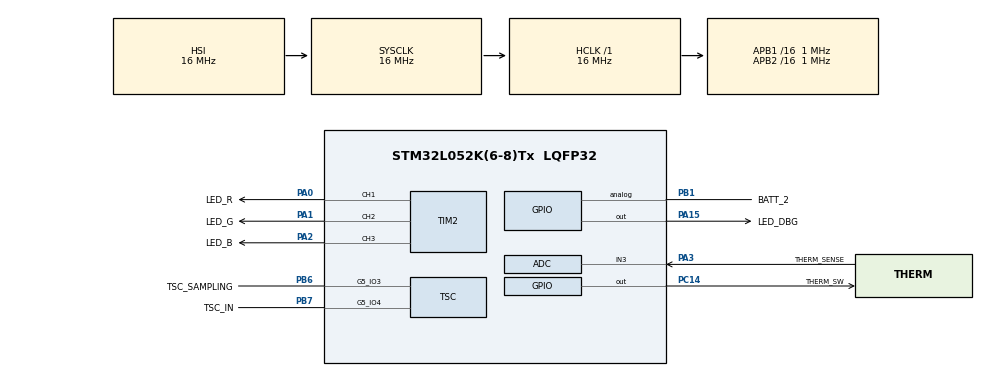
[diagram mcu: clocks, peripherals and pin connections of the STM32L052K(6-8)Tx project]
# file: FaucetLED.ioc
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ADC.ClockPrescaler=ADC_CLOCK_ASYNC_DIV4
ADC.ContinuousConvMode=DISABLE
ADC.DMAContinuousRequests=DISABLE
ADC.DataAlign=ADC_DATAALIGN_RIGHT
ADC.DiscontinuousConvMode=DISABLE
ADC.EOCSelection=ADC_EOC_SINGLE_CONV
ADC.EnableAnalogWatchDog=false
ADC.ExternalTrigConv=ADC_SOFTWARE_START
ADC.ExternalTrigConvEdge=ADC_EXTERNALTRIGCONVEDGE_NONE
ADC.LowPowerAutoPowerOff=ENABLE
ADC.LowPowerAutoWait=DISABLE
ADC.LowPowerFrequencyMode=DISABLE
ADC.Overrun=ADC_OVR_DATA_OVERWRITTEN
ADC.OversamplingMode=DISABLE
ADC.Resolution=ADC_RESOLUTION_12B
ADC.SamplingTime=ADC_SAMPLETIME_7CYCLES_5
ADC.ScanConvMode=ADC_SCAN_DIRECTION_FORWARD
FREERTOS.INCLUDE_eTaskGetState=1
FREERTOS.INCLUDE_uxTaskGetStackHighWaterMark=1
FREERTOS.INCLUDE_uxTaskPriorityGet=0
FREERTOS.INCLUDE_vTaskDelayUntil=1
FREERTOS.INCLUDE_vTaskDelete=0
FREERTOS.INCLUDE_vTaskPrioritySet=0
FREERTOS.INCLUDE_xTaskGetCurrentTaskHandle=1
FREERTOS.MEMORY_ALLOCATION=1
FREERTOS.Queues01=LedCmdQ,4,LedCmd_S,NULL,Static,LedCmdQBuffer,LedCmdQControlBlock;TouchDataQ,2,uint16_t,NULL,Static,TouchDataQBuffer,TouchDataQControlBlock
FREERTOS.Tasks01=Watchdog,2,128,WatchdogTask,Default,NULL,Static,WatchdogBuffer,WatchdogControlBlock;Led,0,128,LedTask,As external,NULL,Static,LedBuffer,LedControlBlock;AdcReader,-1,128,AdcReaderTask,As external,NULL,Static,AdcReaderBuffer,AdcReaderControlBlock
FREERTOS.configCHECK_FOR_STACK_OVERFLOW=2
FREERTOS.configENABLE_BACKWARD_COMPATIBILITY=0
FREERTOS.configIDLE_SHOULD_YIELD=0
FREERTOS.configUSE_MALLOC_FAILED_HOOK=1
FREERTOS.configUSE_MUTEXES=0
FREERTOS.configUSE_TRACE_FACILITY=0
IWDG.Prescaler=IWDG_PRESCALER_32
Mcu.Family=STM32L0
Mcu.Name=STM32L052K(6-8)Tx
Mcu.Package=LQFP32
Mcu.UserConstants=LED_TIM_PERIOD,255;LED_TIM_CLK_DIV,1
NVIC.ADC1_COMP_IRQn=true\:3\:0\:false\:false\:true\:true
NVIC.LPTIM1_IRQn=true\:3\:0\:true\:false\:true\:true
NVIC.TIM6_DAC_IRQn=true\:3\:0\:false\:false\:true\:true
NVIC.TSC_IRQn=true\:3\:0\:false\:false\:true\:true
NVIC.TimeBase=TIM6_DAC_IRQn
NVIC.TimeBaseIP=TIM6
PA0.GPIO_Label=LED_R
PA0.Signal=S_TIM2_CH1
PA1.GPIO_Label=LED_G
PA1.Signal=S_TIM2_CH2
PA13.Mode=Serial_Wire
PA13.Signal=SYS_SWDIO
PA14.Mode=Serial_Wire
PA14.Signal=SYS_SWCLK
PA15.GPIO_Label=LED_DBG
PA15.Signal=GPIO_Output
PA2.GPIO_Label=LED_B
PA2.Signal=S_TIM2_CH3
PA3.GPIO_Label=THERM_SENSE
PA3.Mode=IN3
PA3.Signal=ADC_IN3
PB1.GPIO_Label=BATT_2
PB1.Signal=GPIO_Analog
PB6.GPIO_Label=TSC_SAMPLING
PB6.Mode=G5_IO3-Sampling
PB6.Signal=TSC_G5_IO3
PB7.GPIO_Label=TSC_IN
PB7.Mode=G5_IO4-Channel
PB7.Signal=TSC_G5_IO4
PC14-OSC32_IN.GPIO_Label=THERM_SW
PC14-OSC32_IN.Signal=GPIO_Output
ProjectManager.HeapSize=0x00
ProjectManager.StackSize=0x80
ProjectManager.TargetToolchain=TrueSTUDIO
RCC.AHBFreq_Value=16000000
RCC.APB1CLKDivider=RCC_HCLK_DIV16
RCC.APB1Freq_Value=1000000
RCC.APB1TimFreq_Value=2000000
RCC.APB2CLKDivider=RCC_HCLK_DIV16
RCC.APB2Freq_Value=1000000
RCC.APB2TimFreq_Value=2000000
RCC.HCLKFreq_Value=16000000
RCC.HSI16_VALUE=16000000
RCC.HSI48_VALUE=48000000
RCC.HSI_VALUE=16000000
RCC.LSE_VALUE=32768
RCC.LptimClockSelection=RCC_LPTIM1CLKSOURCE_LSI
RCC.MSI_VALUE=2097000
RCC.PLLMUL=RCC_PLLMUL_4
RCC.RCC_MCOSource=RCC_MCO1SOURCE_LSI
RCC.SYSCLKFreq_VALUE=16000000
RCC.SYSCLKSource=RCC_SYSCLKSOURCE_HSI
RCC.TimPrescaler=SYSTICK_CLKSOURCE_HCLK_DIV8
RCC.VCOOutputFreq_Value=64000000
SH.S_TIM2_CH1.0=TIM2_CH1,PWM Generation1 CH1
SH.S_TIM2_CH2.0=TIM2_CH2,PWM Generation2 CH2
SH.S_TIM2_CH3.0=TIM2_CH3,PWM Generation3 CH3
TIM2.Channel-PWM\ Generation2\ CH2=TIM_CHANNEL_2
TIM2.Channel-PWM\ Generation3\ CH3=TIM_CHANNEL_3
TIM2.Period=LED_TIM_PERIOD
TIM2.Prescaler=LED_TIM_CLK_DIV-1
TSC.CTPulseHighLength=TSC_CTPH_2CYCLES
TSC.CTPulseLowLength=TSC_CTPL_2CYCLES
TSC.ChannelIOs-G5_IO4=TSC_GROUP5_IO4
TSC.MaxCountInterrupt=ENABLE
TSC.MaxCountValue=TSC_MCV_16383
TSC.PulseGeneratorPrescaler=TSC_PG_PRESC_DIV16
TSC.SamplingIOs-G5_IO3=TSC_GROUP5_IO3
VP_FREERTOS_VS_ENABLE.Mode=Enabled
VP_IWDG_VS_IWDG.Mode=IWDG_Activate
VP_LPTIM1_VS_LPTIM_counterModeInternalClock.Mode=Counts__internal_clock_event_00
VP_SYS_VS_tim6.Mode=TIM6
board=FaucetLED

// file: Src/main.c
/**
  ******************************************************************************
  * File Name          : main.c
  * Description        : Main program body
  ******************************************************************************
  *
  * Copyright (c) 2017 STMicroelectronics International N.V.
  * All rights reserved.
  *
  * Redistribution and use in source and binary forms, with or without
  * modification, are permitted, provided that the following conditions are met:
  *
  * 1. Redistribution of source code must retain the above copyright notice,
  *    this list of conditions and the following disclaimer.
  * 2. Redistributions in binary form must reproduce the above copyright notice,
  *    this list of conditions and the following disclaimer in the documentation
  *    and/or other materials provided with the distribution.
  * 3. Neither the name of STMicroelectronics nor the names of other
  *    contributors to this software may be used to endorse or promote products
  *    derived from this software without specific written permission.
  * 4. This software, including modifications and/or derivative works of this
  *    software, must execute solely and exclusively on microcontroller or
  *    microprocessor devices manufactured by or for STMicroelectronics.
  * 5. Redistribution and use of this software other than as permitted under
  *    this license is void and will automatically terminate your rights under
  *    this license.
  *
  * THIS SOFTWARE IS PROVIDED BY STMICROELECTRONICS AND CONTRIBUTORS "AS IS"
  * AND ANY EXPRESS, IMPLIED OR STATUTORY WARRANTIES, INCLUDING, BUT NOT
  * LIMITED TO, THE IMPLIED WARRANTIES OF MERCHANTABILITY, FITNESS FOR A
  * PARTICULAR PURPOSE AND NON-INFRINGEMENT OF THIRD PARTY INTELLECTUAL PROPERTY
  * RIGHTS ARE DISCLAIMED TO THE FULLEST EXTENT PERMITTED BY LAW. IN NO EVENT
  * SHALL STMICROELECTRONICS OR CONTRIBUTORS BE LIABLE FOR ANY DIRECT, INDIRECT,
  * INCIDENTAL, SPECIAL, EXEMPLARY, OR CONSEQUENTIAL DAMAGES (INCLUDING, BUT NOT
  * LIMITED TO, PROCUREMENT OF SUBSTITUTE GOODS OR SERVICES; LOSS OF USE, DATA,
  * OR PROFITS; OR BUSINESS INTERRUPTION) HOWEVER CAUSED AND ON ANY THEORY OF
  * LIABILITY, WHETHER IN CONTRACT, STRICT LIABILITY, OR TORT (INCLUDING
  * NEGLIGENCE OR OTHERWISE) ARISING IN ANY WAY OUT OF THE USE OF THIS SOFTWARE,
  * EVEN IF ADVISED OF THE POSSIBILITY OF SUCH DAMAGE.
  *
  ******************************************************************************
  */
#include "main.h"
#include "stm32l0xx_hal.h"
#include "cmsis_os.h"

/* USER CODE BEGIN Includes */
#include "app.h"
#include "drivers/led.h"
/* USER CODE END Includes */

ADC_HandleTypeDef hadc;

IWDG_HandleTypeDef hiwdg;

LPTIM_HandleTypeDef hlptim1;

TIM_HandleTypeDef htim2;

TSC_HandleTypeDef htsc;

osThreadId WatchdogHandle;
uint32_t WatchdogBuffer[ 128 ];
osStaticThreadDef_t WatchdogControlBlock;
osThreadId LedHandle;
uint32_t LedBuffer[ 128 ];
osStaticThreadDef_t LedControlBlock;
osThreadId AdcReaderHandle;
uint32_t AdcReaderBuffer[ 128 ];
osStaticThreadDef_t AdcReaderControlBlock;
osMessageQId LedCmdQHandle;
uint8_t LedCmdQBuffer[ 4 * sizeof( LedCmd_S ) ];
osStaticMessageQDef_t LedCmdQControlBlock;
osMessageQId TouchDataQHandle;
uint8_t TouchDataQBuffer[ 2 * sizeof( uint16_t ) ];
osStaticMessageQDef_t TouchDataQControlBlock;

/* USER CODE BEGIN PV */
/* Private variables ---------------------------------------------------------*/
/* USER CODE END PV */

void SystemClock_Config(void);
void Error_Handler(void);
static void MX_GPIO_Init(void);
static void MX_ADC_Init(void);
static void MX_TIM2_Init(void);
static void MX_TSC_Init(void);
static void MX_LPTIM1_Init(void);
static void MX_IWDG_Init(void);
void WatchdogTask(void const * argument);
extern void LedTask(void const * argument);
extern void AdcReaderTask(void const * argument);

void HAL_TIM_MspPostInit(TIM_HandleTypeDef *htim);

/* USER CODE BEGIN PFP */
/* Private function prototypes -----------------------------------------------*/

/* USER CODE END PFP */

int main(void)
{

  /* MCU Configuration----------------------------------------------------------*/

  /* Reset of all peripherals, Initializes the Flash interface and the Systick. */
  HAL_Init();

  /* Configure the system clock */
  SystemClock_Config();

  /* Initialize all configured peripherals */
  MX_GPIO_Init();
  MX_ADC_Init();
  MX_TIM2_Init();
  MX_TSC_Init();
  MX_LPTIM1_Init();
  MX_IWDG_Init();

  /* USER CODE BEGIN 2 */
  HAL_GPIO_WritePin(LED_DBG_GPIO_Port, LED_DBG_Pin, GPIO_PIN_RESET);
  led_init(&LED_TIMER_DEV, LED_TIM_PERIOD);
  led_disable();
  /* USER CODE END 2 */

  /* Create the thread(s) */
  /* definition and creation of Watchdog */
  osThreadStaticDef(Watchdog, WatchdogTask, osPriorityHigh, 0, 128, WatchdogBuffer, &WatchdogControlBlock);
  WatchdogHandle = osThreadCreate(osThread(Watchdog), NULL);

  /* definition and creation of Led */
  osThreadStaticDef(Led, LedTask, osPriorityNormal, 0, 128, LedBuffer, &LedControlBlock);
  LedHandle = osThreadCreate(osThread(Led), NULL);

  /* definition and creation of AdcReader */
  osThreadStaticDef(AdcReader, AdcReaderTask, osPriorityBelowNormal, 0, 128, AdcReaderBuffer, &AdcReaderControlBlock);
  AdcReaderHandle = osThreadCreate(osThread(AdcReader), NULL);

  /* Create the queue(s) */
  /* definition and creation of LedCmdQ */
  osMessageQStaticDef(LedCmdQ, 4, LedCmd_S, LedCmdQBuffer, &LedCmdQControlBlock);
  LedCmdQHandle = osMessageCreate(osMessageQ(LedCmdQ), NULL);

  /* definition and creation of TouchDataQ */
  osMessageQStaticDef(TouchDataQ, 2, uint16_t, TouchDataQBuffer, &TouchDataQControlBlock);
  TouchDataQHandle = osMessageCreate(osMessageQ(TouchDataQ), NULL);

  /* Start scheduler */
  osKernelStart();

  /* We should never get here as control is now taken by the scheduler */

  /* Infinite loop */
  while (1)
  {

  }

}

/** System Clock Configuration
*/
void SystemClock_Config(void)
{

  RCC_OscInitTypeDef RCC_OscInitStruct;
  RCC_ClkInitTypeDef RCC_ClkInitStruct;
  RCC_PeriphCLKInitTypeDef PeriphClkInit;

    /**Configure the main internal regulator output voltage
    */
  __HAL_PWR_VOLTAGESCALING_CONFIG(PWR_REGULATOR_VOLTAGE_SCALE1);

    /**Initializes the CPU, AHB and APB busses clocks
    */
  RCC_OscInitStruct.OscillatorType = RCC_OSCILLATORTYPE_HSI|RCC_OSCILLATORTYPE_LSI;
  RCC_OscInitStruct.HSIState = RCC_HSI_ON;
  RCC_OscInitStruct.HSICalibrationValue = 16;
  RCC_OscInitStruct.LSIState = RCC_LSI_ON;
  RCC_OscInitStruct.PLL.PLLState = RCC_PLL_NONE;
  if (HAL_RCC_OscConfig(&RCC_OscInitStruct) != HAL_OK)
  {
    Error_Handler();
  }

    /**Initializes the CPU, AHB and APB busses clocks
    */
  RCC_ClkInitStruct.ClockType = RCC_CLOCKTYPE_HCLK|RCC_CLOCKTYPE_SYSCLK
                              |RCC_CLOCKTYPE_PCLK1|RCC_CLOCKTYPE_PCLK2;
  RCC_ClkInitStruct.SYSCLKSource = RCC_SYSCLKSOURCE_HSI;
  RCC_ClkInitStruct.AHBCLKDivider = RCC_SYSCLK_DIV1;
  RCC_ClkInitStruct.APB1CLKDivider = RCC_HCLK_DIV16;
  RCC_ClkInitStruct.APB2CLKDivider = RCC_HCLK_DIV16;

  if (HAL_RCC_ClockConfig(&RCC_ClkInitStruct, FLASH_LATENCY_0) != HAL_OK)
  {
    Error_Handler();
  }

  PeriphClkInit.PeriphClockSelection = RCC_PERIPHCLK_LPTIM1;
  PeriphClkInit.LptimClockSelection = RCC_LPTIM1CLKSOURCE_LSI;

  if (HAL_RCCEx_PeriphCLKConfig(&PeriphClkInit) != HAL_OK)
  {
    Error_Handler();
  }

    /**Configure the Systick interrupt time
    */
  HAL_SYSTICK_Config(HAL_RCC_GetHCLKFreq()/8000);

    /**Configure the Systick
    */
  HAL_SYSTICK_CLKSourceConfig(SYSTICK_CLKSOURCE_HCLK_DIV8);

  /* SysTick_IRQn interrupt configuration */
  HAL_NVIC_SetPriority(SysTick_IRQn, 3, 0);
}

/* ADC init function */
static void MX_ADC_Init(void)
{

  ADC_ChannelConfTypeDef sConfig;

    /**Configure the global features of the ADC (Clock, Resolution, Data Alignment and number of conversion)
    */
  hadc.Instance = ADC1;
  hadc.Init.OversamplingMode = DISABLE;
  hadc.Init.ClockPrescaler = ADC_CLOCK_ASYNC_DIV4;
  hadc.Init.Resolution = ADC_RESOLUTION_12B;
  hadc.Init.SamplingTime = ADC_SAMPLETIME_7CYCLES_5;
  hadc.Init.ScanConvMode = ADC_SCAN_DIRECTION_FORWARD;
  hadc.Init.DataAlign = ADC_DATAALIGN_RIGHT;
  hadc.Init.ContinuousConvMode = DISABLE;
  hadc.Init.DiscontinuousConvMode = DISABLE;
  hadc.Init.ExternalTrigConvEdge = ADC_EXTERNALTRIGCONVEDGE_NONE;
  hadc.Init.ExternalTrigConv = ADC_SOFTWARE_START;
  hadc.Init.DMAContinuousRequests = DISABLE;
  hadc.Init.EOCSelection = ADC_EOC_SINGLE_CONV;
  hadc.Init.Overrun = ADC_OVR_DATA_OVERWRITTEN;
  hadc.Init.LowPowerAutoWait = DISABLE;
  hadc.Init.LowPowerFrequencyMode = DISABLE;
  hadc.Init.LowPowerAutoPowerOff = ENABLE;
  if (HAL_ADC_Init(&hadc) != HAL_OK)
  {
    Error_Handler();
  }

    /**Configure for the selected ADC regular channel to be converted.
    */
  sConfig.Channel = ADC_CHANNEL_3;
  sConfig.Rank = ADC_RANK_CHANNEL_NUMBER;
  if (HAL_ADC_ConfigChannel(&hadc, &sConfig) != HAL_OK)
  {
    Error_Handler();
  }

}

/* IWDG init function */
static void MX_IWDG_Init(void)
{

  hiwdg.Instance = IWDG;
  hiwdg.Init.Prescaler = IWDG_PRESCALER_32;
  hiwdg.Init.Window = 4095;
  hiwdg.Init.Reload = 4095;
  if (HAL_IWDG_Init(&hiwdg) != HAL_OK)
  {
    Error_Handler();
  }

}

/* LPTIM1 init function */
static void MX_LPTIM1_Init(void)
{

  hlptim1.Instance = LPTIM1;
  hlptim1.Init.Clock.Source = LPTIM_CLOCKSOURCE_APBCLOCK_LPOSC;
  hlptim1.Init.Clock.Prescaler = LPTIM_PRESCALER_DIV1;
  hlptim1.Init.Trigger.Source = LPTIM_TRIGSOURCE_SOFTWARE;
  hlptim1.Init.OutputPolarity = LPTIM_OUTPUTPOLARITY_HIGH;
  hlptim1.Init.UpdateMode = LPTIM_UPDATE_IMMEDIATE;
  hlptim1.Init.CounterSource = LPTIM_COUNTERSOURCE_INTERNAL;
  if (HAL_LPTIM_Init(&hlptim1) != HAL_OK)
  {
    Error_Handler();
  }

}

/* TIM2 init function */
static void MX_TIM2_Init(void)
{

  TIM_MasterConfigTypeDef sMasterConfig;
  TIM_OC_InitTypeDef sConfigOC;

  htim2.Instance = TIM2;
  htim2.Init.Prescaler = LED_TIM_CLK_DIV-1;
  htim2.Init.CounterMode = TIM_COUNTERMODE_UP;
  htim2.Init.Period = LED_TIM_PERIOD;
  htim2.Init.ClockDivision = TIM_CLOCKDIVISION_DIV1;
  if (HAL_TIM_PWM_Init(&htim2) != HAL_OK)
  {
    Error_Handler();
  }

  sMasterConfig.MasterOutputTrigger = TIM_TRGO_RESET;
  sMasterConfig.MasterSlaveMode = TIM_MASTERSLAVEMODE_DISABLE;
  if (HAL_TIMEx_MasterConfigSynchronization(&htim2, &sMasterConfig) != HAL_OK)
  {
    Error_Handler();
  }

  sConfigOC.OCMode = TIM_OCMODE_PWM1;
  sConfigOC.Pulse = 0;
  sConfigOC.OCPolarity = TIM_OCPOLARITY_HIGH;
  sConfigOC.OCFastMode = TIM_OCFAST_DISABLE;
  if (HAL_TIM_PWM_ConfigChannel(&htim2, &sConfigOC, TIM_CHANNEL_1) != HAL_OK)
  {
    Error_Handler();
  }

  if (HAL_TIM_PWM_ConfigChannel(&htim2, &sConfigOC, TIM_CHANNEL_2) != HAL_OK)
  {
    Error_Handler();
  }

  if (HAL_TIM_PWM_ConfigChannel(&htim2, &sConfigOC, TIM_CHANNEL_3) != HAL_OK)
  {
    Error_Handler();
  }

  HAL_TIM_MspPostInit(&htim2);

}

/* TSC init function */
static void MX_TSC_Init(void)
{

    /**Configure the TSC peripheral
    */
  htsc.Instance = TSC;
  htsc.Init.CTPulseHighLength = TSC_CTPH_2CYCLES;
  htsc.Init.CTPulseLowLength = TSC_CTPL_2CYCLES;
  htsc.Init.SpreadSpectrum = DISABLE;
  htsc.Init.SpreadSpectrumDeviation = 1;
  htsc.Init.SpreadSpectrumPrescaler = TSC_SS_PRESC_DIV1;
  htsc.Init.PulseGeneratorPrescaler = TSC_PG_PRESC_DIV16;
  htsc.Init.MaxCountValue = TSC_MCV_16383;
  htsc.Init.IODefaultMode = TSC_IODEF_OUT_PP_LOW;
  htsc.Init.SynchroPinPolarity = TSC_SYNC_POLARITY_FALLING;
  htsc.Init.AcquisitionMode = TSC_ACQ_MODE_NORMAL;
  htsc.Init.MaxCountInterrupt = ENABLE;
  htsc.Init.ChannelIOs = TSC_GROUP5_IO4;
  htsc.Init.SamplingIOs = TSC_GROUP5_IO3;
  if (HAL_TSC_Init(&htsc) != HAL_OK)
  {
    Error_Handler();
  }

}

/** Configure pins as
        * Analog
        * Input
        * Output
        * EVENT_OUT
        * EXTI
        * Free pins are configured automatically as Analog (this feature is enabled through
        * the Code Generation settings)
*/
static void MX_GPIO_Init(void)
{

  GPIO_InitTypeDef GPIO_InitStruct;

  /* GPIO Ports Clock Enable */
  __HAL_RCC_GPIOC_CLK_ENABLE();
  __HAL_RCC_GPIOA_CLK_ENABLE();
  __HAL_RCC_GPIOB_CLK_ENABLE();

  /*Configure GPIO pin Output Level */
  HAL_GPIO_WritePin(THERM_SW_GPIO_Port, THERM_SW_Pin, GPIO_PIN_RESET);

  /*Configure GPIO pin Output Level */
  HAL_GPIO_WritePin(LED_DBG_GPIO_Port, LED_DBG_Pin, GPIO_PIN_RESET);

  /*Configure GPIO pin : THERM_SW_Pin */
  GPIO_InitStruct.Pin = THERM_SW_Pin;
  GPIO_InitStruct.Mode = GPIO_MODE_OUTPUT_PP;
  GPIO_InitStruct.Pull = GPIO_NOPULL;
  GPIO_InitStruct.Speed = GPIO_SPEED_FREQ_LOW;
  HAL_GPIO_Init(THERM_SW_GPIO_Port, &GPIO_InitStruct);

  /*Configure GPIO pin : PC15 */
  GPIO_InitStruct.Pin = GPIO_PIN_15;
  GPIO_InitStruct.Mode = GPIO_MODE_ANALOG;
  GPIO_InitStruct.Pull = GPIO_NOPULL;
  HAL_GPIO_Init(GPIOC, &GPIO_InitStruct);

  /*Configure GPIO pins : PA4 PA5 PA6 PA7
                           PA8 PA9 PA10 PA11
                           PA12 */
  GPIO_InitStruct.Pin = GPIO_PIN_4|GPIO_PIN_5|GPIO_PIN_6|GPIO_PIN_7
                          |GPIO_PIN_8|GPIO_PIN_9|GPIO_PIN_10|GPIO_PIN_11
                          |GPIO_PIN_12;
  GPIO_InitStruct.Mode = GPIO_MODE_ANALOG;
  GPIO_InitStruct.Pull = GPIO_NOPULL;
  HAL_GPIO_Init(GPIOA, &GPIO_InitStruct);

  /*Configure GPIO pins : PB0 BATT_2_Pin PB3 PB4
                           PB5 */
  GPIO_InitStruct.Pin = GPIO_PIN_0|BATT_2_Pin|GPIO_PIN_3|GPIO_PIN_4
                          |GPIO_PIN_5;
  GPIO_InitStruct.Mode = GPIO_MODE_ANALOG;
  GPIO_InitStruct.Pull = GPIO_NOPULL;
  HAL_GPIO_Init(GPIOB, &GPIO_InitStruct);

  /*Configure GPIO pin : LED_DBG_Pin */
  GPIO_InitStruct.Pin = LED_DBG_Pin;
  GPIO_InitStruct.Mode = GPIO_MODE_OUTPUT_PP;
  GPIO_InitStruct.Pull = GPIO_NOPULL;
  GPIO_InitStruct.Speed = GPIO_SPEED_FREQ_LOW;
  HAL_GPIO_Init(LED_DBG_GPIO_Port, &GPIO_InitStruct);

}

/* WatchdogTask function */
void WatchdogTask(void const * argument)
{

  /* USER CODE BEGIN 5 */
	(void)argument;
	while(1)
	{
		// Delay first to avoid triggering window after boot.
		osDelay(2000);
		HAL_IWDG_Refresh(&hiwdg);
	}
  /* USER CODE END 5 */
}

void HAL_TIM_PeriodElapsedCallback(TIM_HandleTypeDef *htim)
{
  if (htim->Instance == TIM6) {
    HAL_IncTick();
  }
}

void Error_Handler(void)
{
  /* USER CODE BEGIN Error_Handler */
	HAL_GPIO_WritePin(LED_DBG_GPIO_Port, LED_DBG_Pin, GPIO_PIN_SET);
	osThreadSuspendAll();
	while(1)
	{
	}
  /* USER CODE END Error_Handler */
}

/************************ (C) COPYRIGHT STMicroelectronics *****END OF FILE****/

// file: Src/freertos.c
/**
  ******************************************************************************
  * File Name          : freertos.c
  * Description        : Code for freertos applications
  ******************************************************************************
  *
  * Copyright (c) 2017 STMicroelectronics International N.V.
  * All rights reserved.
  *
  * Redistribution and use in source and binary forms, with or without
  * modification, are permitted, provided that the following conditions are met:
  *
  * 1. Redistribution of source code must retain the above copyright notice,
  *    this list of conditions and the following disclaimer.
  * 2. Redistributions in binary form must reproduce the above copyright notice,
  *    this list of conditions and the following disclaimer in the documentation
  *    and/or other materials provided with the distribution.
  * 3. Neither the name of STMicroelectronics nor the names of other
  *    contributors to this software may be used to endorse or promote products
  *    derived from this software without specific written permission.
  * 4. This software, including modifications and/or derivative works of this
  *    software, must execute solely and exclusively on microcontroller or
  *    microprocessor devices manufactured by or for STMicroelectronics.
  * 5. Redistribution and use of this software other than as permitted under
  *    this license is void and will automatically terminate your rights under
  *    this license.
  *
  * THIS SOFTWARE IS PROVIDED BY STMICROELECTRONICS AND CONTRIBUTORS "AS IS"
  * AND ANY EXPRESS, IMPLIED OR STATUTORY WARRANTIES, INCLUDING, BUT NOT
  * LIMITED TO, THE IMPLIED WARRANTIES OF MERCHANTABILITY, FITNESS FOR A
  * PARTICULAR PURPOSE AND NON-INFRINGEMENT OF THIRD PARTY INTELLECTUAL PROPERTY
  * RIGHTS ARE DISCLAIMED TO THE FULLEST EXTENT PERMITTED BY LAW. IN NO EVENT
  * SHALL STMICROELECTRONICS OR CONTRIBUTORS BE LIABLE FOR ANY DIRECT, INDIRECT,
  * INCIDENTAL, SPECIAL, EXEMPLARY, OR CONSEQUENTIAL DAMAGES (INCLUDING, BUT NOT
  * LIMITED TO, PROCUREMENT OF SUBSTITUTE GOODS OR SERVICES; LOSS OF USE, DATA,
  * OR PROFITS; OR BUSINESS INTERRUPTION) HOWEVER CAUSED AND ON ANY THEORY OF
  * LIABILITY, WHETHER IN CONTRACT, STRICT LIABILITY, OR TORT (INCLUDING
  * NEGLIGENCE OR OTHERWISE) ARISING IN ANY WAY OUT OF THE USE OF THIS SOFTWARE,
  * EVEN IF ADVISED OF THE POSSIBILITY OF SUCH DAMAGE.
  *
  ******************************************************************************
  */

#include "FreeRTOS.h"
#include "task.h"

/* USER CODE BEGIN Includes */
#include "main.h"
/* USER CODE END Includes */

/* USER CODE BEGIN FunctionPrototypes */
#ifdef __GNUC__
#define USED __attribute__((used))
#else
#define USED
#endif
const uint32_t USED uxTopUsedPriority = configMAX_PRIORITIES - 1;
/* USER CODE END FunctionPrototypes */

/* GetIdleTaskMemory prototype (linked to static allocation support) */
void vApplicationGetIdleTaskMemory( StaticTask_t **ppxIdleTaskTCBBuffer, StackType_t **ppxIdleTaskStackBuffer, uint32_t *pulIdleTaskStackSize );

/* Hook prototypes */
void vApplicationStackOverflowHook(TaskHandle_t xTask, signed char *pcTaskName);
void vApplicationMallocFailedHook(void);

/* USER CODE BEGIN 4 */
void vApplicationStackOverflowHook(TaskHandle_t xTask, signed char *pcTaskName)
{
	(void)xTask;
	(void)pcTaskName;
	/* Run time stack overflow checking is performed if
	configCHECK_FOR_STACK_OVERFLOW is defined to 1 or 2. This hook function is
	called if a stack overflow is detected. */
	HAL_GPIO_WritePin(LED_DBG_GPIO_Port, LED_DBG_Pin, GPIO_PIN_SET);
	taskDISABLE_INTERRUPTS();
	while(1);
}
/* USER CODE END 4 */

/* USER CODE BEGIN 5 */
void vApplicationMallocFailedHook(void)
{
	/* vApplicationMallocFailedHook() will only be called if
	configUSE_MALLOC_FAILED_HOOK is set to 1 in FreeRTOSConfig.h. It is a hook
	function that will get called if a call to pvPortMalloc() fails.
	pvPortMalloc() is called internally by the kernel whenever a task, queue,
	timer or semaphore is created. It is also called by various parts of the
	demo application. If heap_1.c or heap_2.c are used, then the size of the
	heap available to pvPortMalloc() is defined by configTOTAL_HEAP_SIZE in
	FreeRTOSConfig.h, and the xPortGetFreeHeapSize() API function can be used
	to query the size of free heap space that remains (although it does not
	provide information on how the remaining heap might be fragmented). */
	HAL_GPIO_WritePin(LED_DBG_GPIO_Port, LED_DBG_Pin, GPIO_PIN_SET);
	taskDISABLE_INTERRUPTS();
	while(1);
}

#ifndef NDEBUG
void vAssertHook(void)
{
	HAL_GPIO_WritePin(LED_DBG_GPIO_Port, LED_DBG_Pin, GPIO_PIN_SET);
	taskDISABLE_INTERRUPTS();
	while(1);
}
#endif /* NDEBUG */

/* USER CODE END 5 */

/* USER CODE BEGIN GET_IDLE_TASK_MEMORY */
static StaticTask_t xIdleTaskTCBBuffer;
static StackType_t xIdleStack[configMINIMAL_STACK_SIZE];

void vApplicationGetIdleTaskMemory( StaticTask_t **ppxIdleTaskTCBBuffer, StackType_t **ppxIdleTaskStackBuffer, uint32_t *pulIdleTaskStackSize )
{
  *ppxIdleTaskTCBBuffer = &xIdleTaskTCBBuffer;
  *ppxIdleTaskStackBuffer = &xIdleStack[0];
  *pulIdleTaskStackSize = configMINIMAL_STACK_SIZE;
  /* place for user code */
}
/* USER CODE END GET_IDLE_TASK_MEMORY */

/************************ (C) COPYRIGHT STMicroelectronics *****END OF FILE****/
